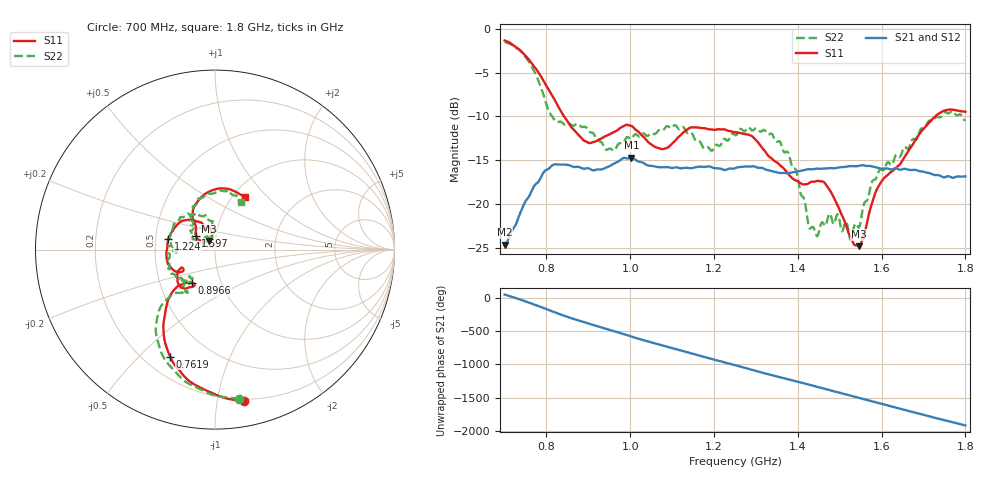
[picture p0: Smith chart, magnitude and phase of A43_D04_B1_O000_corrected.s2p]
! Created with skrf 1.9.0 (http://scikit-rf.org).
# Hz S RI R 50.0
!freq ReS11 ImS11 ReS21 ImS21 ReS12 ImS12 ReS22 ImS22
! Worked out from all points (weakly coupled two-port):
!   1601 points, 700 MHz to 1.8 GHz, reference 50 ohm
!   highest |S21| = -14.72 dB at 1.002 GHz (marker M1); lowest = -24.6 dB at 700.7 MHz (marker M2)
!   lowest |S11| = -24.8 dB at 1.546 GHz (marker M3), VSWR 1.12, Z = 46.7 + j4.47 ohm
!   |S11| at or under -10 dB: 841.6 MHz to 1.728 GHz (886.4 MHz wide, 69 % of centre)
!   |S22| runs from -24.1 to -1.5 dB; largest |S21 - S12| = 0.0034
!   S11 on the Smith chart (normalised r, x): 700 MHz: 0.19, -1.20; 761.9 MHz: 0.30, -0.62; 896.6 MHz: 0.73, -0.28; 1.224 GHz: 0.58, +0.08; 1.597 GHz: 0.80, +0.12; 1.8 GHz: 1.14, +0.75
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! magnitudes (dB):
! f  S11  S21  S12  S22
! 700 MHz  -1.3  -24.6  -24.4  -1.5
! 700.7 MHz  -1.4  -24.6  -24.3  -1.5
! 761.9 MHz  -3.8  -18.8  -18.7  -4.1
! 818.9 MHz  -8.1  -15.5  -15.6  -10.4
! 883.6 MHz  -12.5  -15.9  -15.8  -11.2
! 896.6 MHz  -12.9  -15.9  -16.0  -11.4
! 944.1 MHz  -12.2  -15.8  -15.8  -13.8
! 1.002 GHz  -11.1  -14.7  -14.8  -12.6
! 1.067 GHz  -13.6  -15.8  -15.7  -11.6
! 1.193 GHz  -11.5  -15.8  -15.7  -13.9
! 1.224 GHz  -11.5  -16.1  -16.1  -12.6
! 1.25 GHz  -11.8  -15.9  -15.8  -12.1
! 1.357 GHz  -15.6  -16.5  -16.4  -12.9
! 1.396 GHz  -17.3  -16.3  -16.3  -16.2
! 1.434 GHz  -17.4  -16.0  -16.0  -22.6
! 1.469 GHz  -17.9  -15.9  -15.9  -22.1
! 1.526 GHz  -23.8  -15.7  -15.7  -24.1
! 1.546 GHz  -24.8  -15.6  -15.6  -22.7
! 1.597 GHz  -17.7  -15.9  -15.9  -16.1
! 1.617 GHz  -16.6  -16.0  -15.9  -15.3
! 1.731 GHz  -9.9  -16.7  -16.7  -10.1
! 1.8 GHz  -9.5  -16.8  -16.8  -10.4
